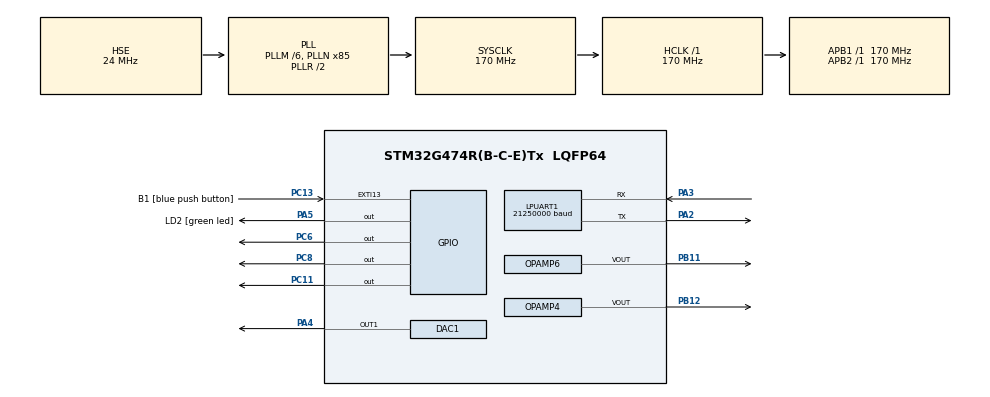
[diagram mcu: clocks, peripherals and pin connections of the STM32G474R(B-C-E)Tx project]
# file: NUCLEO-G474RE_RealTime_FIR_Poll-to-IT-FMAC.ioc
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Mcu.Family=STM32G4
RCC.CortexFreq_Value=170000000
Dma.DAC3_CH1.0.Polarity=HAL_DMAMUX_REQ_GEN_RISING
VP_FMAC_VS_FMAC.Mode=FMAC_Activate
Dma.DAC3_CH1.0.MemInc=DMA_MINC_ENABLE
PA14.GPIO_Label=T_SWCLK
Dma.DAC3_CH1.0.PeriphInc=DMA_PINC_DISABLE
PC13.GPIO_Label=B1 [blue push button]
PB11.Signal=OPAMP6_VOUT
RCC.SYSCLKSource=RCC_SYSCLKSOURCE_PLLCLK
ProjectManager.StackSize=0x400
Dma.DAC3_CH1.0.MemDataAlignment=DMA_MDATAALIGN_WORD
Dma.DAC3_CH1.0.SyncPolarity=HAL_DMAMUX_SYNC_NO_EVENT
Dma.DAC3_CH1.0.SyncEnable=DISABLE
HRTIM1.NumberInterruptRequests_Master-MasterTimer=1
HRTIM1.Periode_MASTER=54400
RCC.HCLKFreq_Value=170000000
RCC.APB2TimFreq_Value=170000000
DAC3.DAC_Trigger_OUT1-DAC_OUT1_Int=DAC_TRIGGER_T6_TRGO
RCC.AHBFreq_Value=170000000
VP_HRTIM1_VS_hrtimMasterTimerNoOutput.Mode=MasterTimer
NVIC.EXTI15_10_IRQn=true\:0\:0\:false\:false\:true\:true\:true
RCC.HSE_VALUE=24000000
PB3.Mode=Trace_Asynchronous_SW
OPAMP6.PowerMode=OPAMP_POWERMODE_HIGHSPEED
RCC.ADC12Freq_Value=170000000
RCC.RTCClockSelection=RCC_RTCCLKSOURCE_LSE
VP_DAC3_VS_DACI1.Mode=DAC_OUT1_Int
PC14-OSC32_IN.Mode=LSE-External-Oscillator
PA14.Mode=Trace_Asynchronous_SW
HRTIM1.PrescalerRatio_MASTER=HRTIM_PRESCALERRATIO_MUL16
VP_SYS_VS_DBSignals.Mode=DisableDeadBatterySignals
OPAMP4.PowerMode=OPAMP_POWERMODE_HIGHSPEED
Mcu.Package=LQFP64
PB12.Mode=Follower-DAC_OUT2-INP
Dma.DAC3_CH1.0.Mode=DMA_CIRCULAR
DAC1.DAC_HighFrequency_OUT1-DAC_OUT1=DAC_HIGH_FREQUENCY_INTERFACE_MODE_ABOVE_160MHZ
TIM6.PeriodNoDither=5-1
HRTIM1.ADCTrigger1_Source1=HRTIM_ADCTRIGGEREVENT13_MASTER_PERIOD
HRTIM1.NumberADCTriggerSource1=1
RCC.APB1TimFreq_Value=170000000
HRTIM1.InterruptRequests1_Master=HRTIM_MASTER_IT_MREP
PF1-OSC_OUT.Mode=HSE-External-Oscillator
Dma.Request0=DAC3_CH1
PF1-OSC_OUT.Signal=RCC_OSC_OUT
RCC.HSI48_VALUE=48000000
PA3.Signal=LPUART1_RX
PB3.GPIO_Label=T_SWO
RCC.PLLSourceVirtual=RCC_PLLSOURCE_HSE
PC15-OSC32_OUT.Mode=LSE-External-Oscillator
PC13.Signal=GPXTI13
PC11.Signal=GPIO_Output
PC8.Signal=GPIO_Output
TIM6.Prescaler=17-1
PC6.Signal=GPIO_Output
VP_TIM6_VS_ClockSourceINT.Mode=Enable_Timer
RCC.EXTERNAL_CLOCK_VALUE=12288000
PC14-OSC32_IN.Signal=RCC_OSC32_IN
Dma.DAC3_CH1.0.Instance=DMA1_Channel1
PA13.Signal=SYS_JTMS-SWDIO
PA3.Mode=Asynchronous
Dma.DAC3_CH1.0.Direction=DMA_MEMORY_TO_PERIPH
DAC4.DAC_HighFrequency_OUT1-DAC_OUT1_Int=DAC_HIGH_FREQUENCY_INTERFACE_MODE_ABOVE_160MHZ
PB11.Mode=Follower-DAC_OUT2-INP
HRTIM1.RepetitionUpdate-MasterTimer=HRTIM_UPDATEONREPETITION_DISABLED
ProjectManager.TargetToolchain=STM32CubeIDE
SH.COMP_DAC11_group.0=DAC1_OUT1,DAC_OUT1
VP_DAC4_VS_DACI1.Mode=DAC_OUT1_Int
RCC.USBFreq_Value=170000000
PC15-OSC32_OUT.Signal=RCC_OSC32_OUT
PF0-OSC_IN.Mode=HSE-External-Oscillator
Dma.DAC3_CH1.0.EventEnable=DISABLE
PA5.Signal=GPIO_Output
HRTIM1.ADCTrigger_Id1=__NULL
Dma.DAC3_CH1.0.SyncRequestNumber=1
board=NUCLEO-G474RE
NVIC.HRTIM1_Master_IRQn=true\:0\:0\:false\:false\:true\:true\:true
RCC.VCOOutputFreq_Value=340000000
RCC.ADC345Freq_Value=170000000
RCC.APB2Freq_Value=170000000
NVIC.FMAC_IRQn=true\:0\:0\:false\:false\:true\:true\:false
TIM6.TIM_MasterOutputTrigger=TIM_TRGO_UPDATE
Dma.DAC3_CH1.0.SignalID=NONE
PA13.Mode=Trace_Asynchronous_SW
Mcu.Name=STM32G474R(B-C-E)Tx
LPUART1.BaudRate=21250000
PA13.GPIO_Label=T_SWDIO
PA2.Signal=LPUART1_TX
Dma.DAC3_CH1.0.PeriphDataAlignment=DMA_PDATAALIGN_WORD
Dma.DAC3_CH1.0.Priority=DMA_PRIORITY_LOW
PB3.Signal=SYS_JTDO-SWO
PA4.Signal=COMP_DAC11_group
RCC.SYSCLKFreq_VALUE=170000000
DAC3.DAC_HighFrequency_OUT1-DAC_OUT1_Int=DAC_HIGH_FREQUENCY_INTERFACE_MODE_ABOVE_160MHZ
PA5.GPIO_Label=LD2 [green led]
Dma.DAC3_CH1.0.RequestNumber=1
PA14.Signal=SYS_JTCK-SWCLK
ProjectManager.HeapSize=0x200
RCC.HSI_VALUE=16000000
NVIC.PriorityGroup=NVIC_PRIORITYGROUP_4
RCC.PLLM=RCC_PLLM_DIV6
RCC.PLLN=85
Dma.DAC3_CH1.0.SyncSignalID=NONE
PA2.Mode=Asynchronous
NVIC.DMA1_Channel1_IRQn=true\:0\:0\:false\:false\:true\:false\:true
PF0-OSC_IN.Signal=RCC_OSC_IN
RCC.APB1Freq_Value=170000000
PB12.Signal=OPAMP4_VOUT

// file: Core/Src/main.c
/* USER CODE BEGIN Header */
/**
  ******************************************************************************
  * @file           : main.c
  * @brief          : Main program body
  ******************************************************************************
  * @attention
  *
  * <h2><center>&copy; Copyright (c) 2021 STMicroelectronics.
  * All rights reserved.</center></h2>
  *
  * This software component is licensed by ST under BSD 3-Clause license,
  * the "License"; You may not use this file except in compliance with the
  * License. You may obtain a copy of the License at:
  *                        opensource.org/licenses/BSD-3-Clause
  *
  ******************************************************************************
  */
/* USER CODE END Header */
#include "main.h"

/* USER CODE BEGIN Includes */

#include "waveforms.h"
#include "fmac.h"
#include <stdio.h>

/* USER CODE END Includes */

/* USER CODE BEGIN PD */

/* FMAC WDATA register address (for DMA transfer) */
#define FMAC_WDATA (0x40021418)

/* USER CODE END PD */

DAC_HandleTypeDef hdac1;
DAC_HandleTypeDef hdac3;
DAC_HandleTypeDef hdac4;
DMA_HandleTypeDef hdma_dac3_ch1;

FMAC_HandleTypeDef hfmac;

HRTIM_HandleTypeDef hhrtim1;

UART_HandleTypeDef hlpuart1;

OPAMP_HandleTypeDef hopamp4;
OPAMP_HandleTypeDef hopamp6;

TIM_HandleTypeDef htim6;

/* USER CODE BEGIN PV */

uint32_t CPU_Freq, HR_Master_mul, HRTIM_Master_per, HRTIM_Master_Freq;
uint32_t TIM6_PSC, TIM6_ARR, TIM6_Freq;

#define sampling_pt_array_size 600
uint32_t sampling_rate, sampling_pt_cntr, sampling_pt_array[sampling_pt_array_size];
uint32_t *Fmac_Wdata;
int16_t sampling_pt, Fmac_output;

FMAC_FilterConfigTypeDef sFmacConfig;

uint16_t ExpectedCalculatedOutputSize = (uint16_t) 1;
uint16_t InputSize = (uint16_t) 1;

/* Array of filter coefficients B (feed-forward taps) in Q1.15 format */

// Old Low Pass Filter
//static int16_t aFilterCoeffB[] =
//{
//    2212,  8848, 13272,  8848,  2212
//};

// Very Low Pass Filter
//static int16_t aFilterCoeffB[] =
//{
//    70,  0, 127,  0,  70
//};

// Low Pass Filter
static int16_t aFilterCoeffB[] =
{
		5987,  6832, 7129,  6832,  5987
};

// High Pass Filter
//static int16_t aFilterCoeffB[] =
//{
//		-2570,  -8318, 21777,  -8318,  -2570
//};

/* USER CODE END PV */

void SystemClock_Config(void);
static void MX_GPIO_Init(void);
static void MX_DMA_Init(void);
static void MX_DAC3_Init(void);
static void MX_TIM6_Init(void);
static void MX_OPAMP6_Init(void);
static void MX_HRTIM1_Init(void);
static void MX_DAC4_Init(void);
static void MX_OPAMP4_Init(void);
static void MX_FMAC_Init(void);
static void MX_DAC1_Init(void);
static void MX_LPUART1_UART_Init(void);
/* USER CODE BEGIN PFP */

void VT_FMAC_init(void);
#define PUTCHAR_PROTOTYPE int __io_putchar(int ch)
void VT_AppendData_FMAC(void);
void VT_HRTIM_Master_FreqCalc(void);

/* USER CODE END PFP */

int main(void)
{

  /* MCU Configuration--------------------------------------------------------*/

  /* Reset of all peripherals, Initializes the Flash interface and the Systick. */
  HAL_Init();

  /* Configure the system clock */
  SystemClock_Config();

  /* Initialize all configured peripherals */
  MX_GPIO_Init();
  MX_DMA_Init();
  MX_DAC3_Init();
  MX_TIM6_Init();
  MX_OPAMP6_Init();
  MX_HRTIM1_Init();
  MX_DAC4_Init();
  MX_OPAMP4_Init();
  MX_FMAC_Init();
  MX_DAC1_Init();
  MX_LPUART1_UART_Init();
  /* USER CODE BEGIN 2 */

  CPU_Freq = HAL_RCC_GetHCLKFreq();

  VT_HRTIM_Master_FreqCalc();

  TIM6_Freq = CPU_Freq / (TIM6_PSC * TIM6_ARR);

  if ((TIM6_Freq % HRTIM_Master_Freq) != 0)
  {
	  Error_Handler();
  }

  sampling_rate = TIM6_Freq / HRTIM_Master_Freq;

//	HR_TimA_mul = pow(2,(0x00000007 & HRTIM1->sTimerxRegs[HRTIM_TIMERINDEX_TIMER_A].TIMxCR)); // TimA multiplier
//	HRTIM_TimA_per = HRTIM1->sTimerxRegs[HRTIM_TIMERINDEX_TIMER_A].PERxR;
//	HRTIM_TimA_Freq = (((uint64_t) CPU_Freq * 32 ) / HR_TimA_mul) / HRTIM_TimA_per;

	for (uint16_t cntr = 0; cntr < MySine2000_SIZE; cntr++)
	{
		MySine2000[cntr] += 682;
		MySine2000[cntr] += MySine200[cntr % MySine200_SIZE];
	}

	/*##- Enable DAC Channel and associated DMA ##############################*/
	if(HAL_OK != HAL_DAC_Start_DMA(&hdac3, DAC_CHANNEL_1,
				   (uint32_t*)MySine2000, MySine2000_SIZE, DAC_ALIGN_12B_R))
	{
		/* Start DMA Error */
		Error_Handler();
	}

	/*##- Start OPAMP    #####################################################*/
	/* Enable OPAMP */
	if(HAL_OK != HAL_OPAMP_Start(&hopamp6))
	{
		Error_Handler();
	}

	/*##- Enable DAC Channel ##############################*/
	if(HAL_OK != HAL_DAC_Start(&hdac4, DAC_CHANNEL_1))
	{
		/* Start Error */
		Error_Handler();
	}

	/*##- Start OPAMP    #####################################################*/
	/* Enable OPAMP */
	if(HAL_OK != HAL_OPAMP_Start(&hopamp4))
	{
		Error_Handler();
	}

	VT_FMAC_init();

	/*##- Enable DAC Channel ##############################*/
	if(HAL_OK != HAL_DAC_Start(&hdac1, DAC_CHANNEL_1))
	{
		/* Start Error */
		Error_Handler();
	}

	/*##- Enable TIM peripheral counter ######################################*/
	if(HAL_OK != HAL_TIM_Base_Start(&htim6))
	{
		Error_Handler();
	}

	if(HAL_OK != HAL_HRTIM_WaveformCounterStart_IT(&hhrtim1, HRTIM_TIMERID_MASTER))
	{
		Error_Handler();
	}

  /* USER CODE END 2 */

  /* Infinite loop */
  /* USER CODE BEGIN WHILE */
  while (1)
  {
//	  HAL_GPIO_TogglePin(GPIOA, GPIO_PIN_5);
//	  HAL_Delay(100);
    /* USER CODE END WHILE */

  }
}

void SystemClock_Config(void)
{
  RCC_OscInitTypeDef RCC_OscInitStruct = {0};
  RCC_ClkInitTypeDef RCC_ClkInitStruct = {0};
  RCC_PeriphCLKInitTypeDef PeriphClkInit = {0};

  /** Configure the main internal regulator output voltage
  */
  HAL_PWREx_ControlVoltageScaling(PWR_REGULATOR_VOLTAGE_SCALE1_BOOST);
  /** Initializes the RCC Oscillators according to the specified parameters
  * in the RCC_OscInitTypeDef structure.
  */
  RCC_OscInitStruct.OscillatorType = RCC_OSCILLATORTYPE_HSE;
  RCC_OscInitStruct.HSEState = RCC_HSE_ON;
  RCC_OscInitStruct.PLL.PLLState = RCC_PLL_ON;
  RCC_OscInitStruct.PLL.PLLSource = RCC_PLLSOURCE_HSE;
  RCC_OscInitStruct.PLL.PLLM = RCC_PLLM_DIV6;
  RCC_OscInitStruct.PLL.PLLN = 85;
  RCC_OscInitStruct.PLL.PLLP = RCC_PLLP_DIV2;
  RCC_OscInitStruct.PLL.PLLQ = RCC_PLLQ_DIV2;
  RCC_OscInitStruct.PLL.PLLR = RCC_PLLR_DIV2;
  if (HAL_RCC_OscConfig(&RCC_OscInitStruct) != HAL_OK)
  {
    Error_Handler();
  }
  /** Initializes the CPU, AHB and APB buses clocks
  */
  RCC_ClkInitStruct.ClockType = RCC_CLOCKTYPE_HCLK|RCC_CLOCKTYPE_SYSCLK
                              |RCC_CLOCKTYPE_PCLK1|RCC_CLOCKTYPE_PCLK2;
  RCC_ClkInitStruct.SYSCLKSource = RCC_SYSCLKSOURCE_PLLCLK;
  RCC_ClkInitStruct.AHBCLKDivider = RCC_SYSCLK_DIV1;
  RCC_ClkInitStruct.APB1CLKDivider = RCC_HCLK_DIV1;
  RCC_ClkInitStruct.APB2CLKDivider = RCC_HCLK_DIV1;

  if (HAL_RCC_ClockConfig(&RCC_ClkInitStruct, FLASH_LATENCY_4) != HAL_OK)
  {
    Error_Handler();
  }
  /** Initializes the peripherals clocks
  */
  PeriphClkInit.PeriphClockSelection = RCC_PERIPHCLK_LPUART1;
  PeriphClkInit.Lpuart1ClockSelection = RCC_LPUART1CLKSOURCE_PCLK1;
  if (HAL_RCCEx_PeriphCLKConfig(&PeriphClkInit) != HAL_OK)
  {
    Error_Handler();
  }
}

static void MX_DAC1_Init(void)
{

  DAC_ChannelConfTypeDef sConfig = {0};

  /** DAC Initialization
  */
  hdac1.Instance = DAC1;
  if (HAL_DAC_Init(&hdac1) != HAL_OK)
  {
    Error_Handler();
  }
  /** DAC channel OUT1 config
  */
  sConfig.DAC_HighFrequency = DAC_HIGH_FREQUENCY_INTERFACE_MODE_ABOVE_160MHZ;
  sConfig.DAC_DMADoubleDataMode = DISABLE;
  sConfig.DAC_SignedFormat = DISABLE;
  sConfig.DAC_SampleAndHold = DAC_SAMPLEANDHOLD_DISABLE;
  sConfig.DAC_Trigger = DAC_TRIGGER_NONE;
  sConfig.DAC_Trigger2 = DAC_TRIGGER_NONE;
  sConfig.DAC_OutputBuffer = DAC_OUTPUTBUFFER_ENABLE;
  sConfig.DAC_ConnectOnChipPeripheral = DAC_CHIPCONNECT_EXTERNAL;
  sConfig.DAC_UserTrimming = DAC_TRIMMING_FACTORY;
  if (HAL_DAC_ConfigChannel(&hdac1, &sConfig, DAC_CHANNEL_1) != HAL_OK)
  {
    Error_Handler();
  }

}

static void MX_DAC3_Init(void)
{

  DAC_ChannelConfTypeDef sConfig = {0};

  /** DAC Initialization
  */
  hdac3.Instance = DAC3;
  if (HAL_DAC_Init(&hdac3) != HAL_OK)
  {
    Error_Handler();
  }
  /** DAC channel OUT1 config
  */
  sConfig.DAC_HighFrequency = DAC_HIGH_FREQUENCY_INTERFACE_MODE_ABOVE_160MHZ;
  sConfig.DAC_DMADoubleDataMode = DISABLE;
  sConfig.DAC_SignedFormat = DISABLE;
  sConfig.DAC_SampleAndHold = DAC_SAMPLEANDHOLD_DISABLE;
  sConfig.DAC_Trigger = DAC_TRIGGER_T6_TRGO;
  sConfig.DAC_Trigger2 = DAC_TRIGGER_NONE;
  sConfig.DAC_OutputBuffer = DAC_OUTPUTBUFFER_DISABLE;
  sConfig.DAC_ConnectOnChipPeripheral = DAC_CHIPCONNECT_INTERNAL;
  sConfig.DAC_UserTrimming = DAC_TRIMMING_FACTORY;
  if (HAL_DAC_ConfigChannel(&hdac3, &sConfig, DAC_CHANNEL_1) != HAL_OK)
  {
    Error_Handler();
  }

}

static void MX_DAC4_Init(void)
{

  DAC_ChannelConfTypeDef sConfig = {0};

  /** DAC Initialization
  */
  hdac4.Instance = DAC4;
  if (HAL_DAC_Init(&hdac4) != HAL_OK)
  {
    Error_Handler();
  }
  /** DAC channel OUT1 config
  */
  sConfig.DAC_HighFrequency = DAC_HIGH_FREQUENCY_INTERFACE_MODE_ABOVE_160MHZ;
  sConfig.DAC_DMADoubleDataMode = DISABLE;
  sConfig.DAC_SignedFormat = DISABLE;
  sConfig.DAC_SampleAndHold = DAC_SAMPLEANDHOLD_DISABLE;
  sConfig.DAC_Trigger = DAC_TRIGGER_NONE;
  sConfig.DAC_Trigger2 = DAC_TRIGGER_NONE;
  sConfig.DAC_OutputBuffer = DAC_OUTPUTBUFFER_DISABLE;
  sConfig.DAC_ConnectOnChipPeripheral = DAC_CHIPCONNECT_INTERNAL;
  sConfig.DAC_UserTrimming = DAC_TRIMMING_FACTORY;
  if (HAL_DAC_ConfigChannel(&hdac4, &sConfig, DAC_CHANNEL_1) != HAL_OK)
  {
    Error_Handler();
  }

}

static void MX_FMAC_Init(void)
{

  hfmac.Instance = FMAC;
  if (HAL_FMAC_Init(&hfmac) != HAL_OK)
  {
    Error_Handler();
  }

}

static void MX_HRTIM1_Init(void)
{

  HRTIM_TimeBaseCfgTypeDef pTimeBaseCfg = {0};
  HRTIM_TimerCfgTypeDef pTimerCfg = {0};

  hhrtim1.Instance = HRTIM1;
  hhrtim1.Init.HRTIMInterruptResquests = HRTIM_IT_NONE;
  hhrtim1.Init.SyncOptions = HRTIM_SYNCOPTION_NONE;
  if (HAL_HRTIM_Init(&hhrtim1) != HAL_OK)
  {
    Error_Handler();
  }
  if (HAL_HRTIM_DLLCalibrationStart(&hhrtim1, HRTIM_CALIBRATIONRATE_3) != HAL_OK)
  {
    Error_Handler();
  }
  if (HAL_HRTIM_PollForDLLCalibration(&hhrtim1, 10) != HAL_OK)
  {
    Error_Handler();
  }
  pTimeBaseCfg.Period = 54400;
  pTimeBaseCfg.RepetitionCounter = 0x00;
  pTimeBaseCfg.PrescalerRatio = HRTIM_PRESCALERRATIO_MUL16;
  pTimeBaseCfg.Mode = HRTIM_MODE_CONTINUOUS;
  if (HAL_HRTIM_TimeBaseConfig(&hhrtim1, HRTIM_TIMERINDEX_MASTER, &pTimeBaseCfg) != HAL_OK)
  {
    Error_Handler();
  }
  pTimerCfg.InterruptRequests = HRTIM_MASTER_IT_MREP;
  pTimerCfg.DMARequests = HRTIM_MASTER_DMA_NONE;
  pTimerCfg.DMASrcAddress = 0x0000;
  pTimerCfg.DMADstAddress = 0x0000;
  pTimerCfg.DMASize = 0x1;
  pTimerCfg.HalfModeEnable = HRTIM_HALFMODE_DISABLED;
  pTimerCfg.InterleavedMode = HRTIM_INTERLEAVED_MODE_DISABLED;
  pTimerCfg.StartOnSync = HRTIM_SYNCSTART_DISABLED;
  pTimerCfg.ResetOnSync = HRTIM_SYNCRESET_DISABLED;
  pTimerCfg.DACSynchro = HRTIM_DACSYNC_NONE;
  pTimerCfg.PreloadEnable = HRTIM_PRELOAD_DISABLED;
  pTimerCfg.UpdateGating = HRTIM_UPDATEGATING_INDEPENDENT;
  pTimerCfg.BurstMode = HRTIM_TIMERBURSTMODE_MAINTAINCLOCK;
  pTimerCfg.RepetitionUpdate = HRTIM_UPDATEONREPETITION_DISABLED;
  pTimerCfg.ReSyncUpdate = HRTIM_TIMERESYNC_UPDATE_UNCONDITIONAL;

  if (HAL_HRTIM_WaveformTimerConfig(&hhrtim1, HRTIM_TIMERINDEX_MASTER, &pTimerCfg) != HAL_OK)
  {
    Error_Handler();
  }

}

static void MX_LPUART1_UART_Init(void)
{

  hlpuart1.Instance = LPUART1;
  hlpuart1.Init.BaudRate = 21250000;
  hlpuart1.Init.WordLength = UART_WORDLENGTH_8B;
  hlpuart1.Init.StopBits = UART_STOPBITS_1;
  hlpuart1.Init.Parity = UART_PARITY_NONE;
  hlpuart1.Init.Mode = UART_MODE_TX_RX;
  hlpuart1.Init.HwFlowCtl = UART_HWCONTROL_NONE;
  hlpuart1.Init.OneBitSampling = UART_ONE_BIT_SAMPLE_DISABLE;
  hlpuart1.Init.ClockPrescaler = UART_PRESCALER_DIV1;
  hlpuart1.AdvancedInit.AdvFeatureInit = UART_ADVFEATURE_NO_INIT;
  if (HAL_UART_Init(&hlpuart1) != HAL_OK)
  {
    Error_Handler();
  }
  if (HAL_UARTEx_SetTxFifoThreshold(&hlpuart1, UART_TXFIFO_THRESHOLD_1_8) != HAL_OK)
  {
    Error_Handler();
  }
  if (HAL_UARTEx_SetRxFifoThreshold(&hlpuart1, UART_RXFIFO_THRESHOLD_1_8) != HAL_OK)
  {
    Error_Handler();
  }
  if (HAL_UARTEx_DisableFifoMode(&hlpuart1) != HAL_OK)
  {
    Error_Handler();
  }

}

static void MX_OPAMP4_Init(void)
{

  hopamp4.Instance = OPAMP4;
  hopamp4.Init.PowerMode = OPAMP_POWERMODE_HIGHSPEED;
  hopamp4.Init.Mode = OPAMP_FOLLOWER_MODE;
  hopamp4.Init.NonInvertingInput = OPAMP_NONINVERTINGINPUT_DAC;
  hopamp4.Init.InternalOutput = DISABLE;
  hopamp4.Init.TimerControlledMuxmode = OPAMP_TIMERCONTROLLEDMUXMODE_DISABLE;
  hopamp4.Init.UserTrimming = OPAMP_TRIMMING_FACTORY;
  if (HAL_OPAMP_Init(&hopamp4) != HAL_OK)
  {
    Error_Handler();
  }

}

static void MX_OPAMP6_Init(void)
{

  hopamp6.Instance = OPAMP6;
  hopamp6.Init.PowerMode = OPAMP_POWERMODE_HIGHSPEED;
  hopamp6.Init.Mode = OPAMP_FOLLOWER_MODE;
  hopamp6.Init.NonInvertingInput = OPAMP_NONINVERTINGINPUT_DAC;
  hopamp6.Init.InternalOutput = DISABLE;
  hopamp6.Init.TimerControlledMuxmode = OPAMP_TIMERCONTROLLEDMUXMODE_DISABLE;
  hopamp6.Init.UserTrimming = OPAMP_TRIMMING_FACTORY;
  if (HAL_OPAMP_Init(&hopamp6) != HAL_OK)
  {
    Error_Handler();
  }

}

static void MX_TIM6_Init(void)
{

  TIM_MasterConfigTypeDef sMasterConfig = {0};

  htim6.Instance = TIM6;
  htim6.Init.Prescaler = 17-1;
  htim6.Init.CounterMode = TIM_COUNTERMODE_UP;
  htim6.Init.Period = 4;
  htim6.Init.AutoReloadPreload = TIM_AUTORELOAD_PRELOAD_DISABLE;
  if (HAL_TIM_Base_Init(&htim6) != HAL_OK)
  {
    Error_Handler();
  }
  sMasterConfig.MasterOutputTrigger = TIM_TRGO_UPDATE;
  sMasterConfig.MasterSlaveMode = TIM_MASTERSLAVEMODE_DISABLE;
  if (HAL_TIMEx_MasterConfigSynchronization(&htim6, &sMasterConfig) != HAL_OK)
  {
    Error_Handler();
  }
  /* USER CODE BEGIN TIM6_Init 2 */

  TIM6_PSC = htim6.Init.Prescaler + 1;

  TIM6_ARR = htim6.Init.Period + 1;

  /* USER CODE END TIM6_Init 2 */

}

static void MX_DMA_Init(void)
{

  /* DMA controller clock enable */
  __HAL_RCC_DMAMUX1_CLK_ENABLE();
  __HAL_RCC_DMA1_CLK_ENABLE();

  /* DMA interrupt init */
  /* DMA1_Channel1_IRQn interrupt configuration */
  HAL_NVIC_SetPriority(DMA1_Channel1_IRQn, 0, 0);
  HAL_NVIC_EnableIRQ(DMA1_Channel1_IRQn);

}

static void MX_GPIO_Init(void)
{
  GPIO_InitTypeDef GPIO_InitStruct = {0};

  /* GPIO Ports Clock Enable */
  __HAL_RCC_GPIOC_CLK_ENABLE();
  __HAL_RCC_GPIOF_CLK_ENABLE();
  __HAL_RCC_GPIOA_CLK_ENABLE();
  __HAL_RCC_GPIOB_CLK_ENABLE();

  /*Configure GPIO pin Output Level */
  HAL_GPIO_WritePin(LD2_GPIO_Port, LD2_Pin, GPIO_PIN_RESET);

  /*Configure GPIO pin Output Level */
  HAL_GPIO_WritePin(GPIOC, GPIO_PIN_6|GPIO_PIN_8|GPIO_PIN_11, GPIO_PIN_RESET);

  /*Configure GPIO pin : B1_Pin */
  GPIO_InitStruct.Pin = B1_Pin;
  GPIO_InitStruct.Mode = GPIO_MODE_IT_RISING;
  GPIO_InitStruct.Pull = GPIO_NOPULL;
  HAL_GPIO_Init(B1_GPIO_Port, &GPIO_InitStruct);

  /*Configure GPIO pin : LD2_Pin */
  GPIO_InitStruct.Pin = LD2_Pin;
  GPIO_InitStruct.Mode = GPIO_MODE_OUTPUT_PP;
  GPIO_InitStruct.Pull = GPIO_NOPULL;
  GPIO_InitStruct.Speed = GPIO_SPEED_FREQ_LOW;
  HAL_GPIO_Init(LD2_GPIO_Port, &GPIO_InitStruct);

  /*Configure GPIO pins : PC6 PC8 PC11 */
  GPIO_InitStruct.Pin = GPIO_PIN_6|GPIO_PIN_8|GPIO_PIN_11;
  GPIO_InitStruct.Mode = GPIO_MODE_OUTPUT_PP;
  GPIO_InitStruct.Pull = GPIO_NOPULL;
  GPIO_InitStruct.Speed = GPIO_SPEED_FREQ_LOW;
  HAL_GPIO_Init(GPIOC, &GPIO_InitStruct);

  /* EXTI interrupt init*/
  HAL_NVIC_SetPriority(EXTI15_10_IRQn, 0, 0);
  HAL_NVIC_EnableIRQ(EXTI15_10_IRQn);

}

/* USER CODE BEGIN 4 */

//HAL_ADC_ConvCpltCallback(ADC_HandleTypeDef *hadc)
//{
//  /* Prevent unused argument(s) compilation warning */
//  UNUSED(hadc);
//
//  /* NOTE : This function should not be modified. When the callback is needed,
//			function HAL_ADC_ConvCpltCallback must be implemented in the user file.
//   */
//
////	HAL_GPIO_TogglePin(GPIOC, GPIO_PIN_11);
//	adc_data = HAL_ADC_GetValue(hadc);
//	HAL_DAC_SetValue(&hdac4, DAC_CHANNEL_1, DAC_ALIGN_12B_R, adc_data);
////	if (adc_data_cntr < adc_data_array_size)
////	{
////		adc_data_array[adc_data_cntr++] = adc_data;
////		if (adc_data_cntr == adc_data_array_size)
////		{
////			if(HAL_OK != HAL_HRTIM_WaveformCounterStop(&hhrtim1, HRTIM_TIMERID_MASTER))
////			{
////				Error_Handler();
////			}
////
////			printf("ADC DATA \n");
////			for (uint16_t Index = 0; Index < adc_data_array_size; Index++)
////			{
////				printf("%d %d\n",Index, adc_data_array[Index]);
////			}
////		}
////	}
//}

void VT_AppendData_FMAC(void)
{
	HAL_GPIO_TogglePin(GPIOC, GPIO_PIN_8);

//	sampling_pt = MySine2000[(sampling_pt_cntr += sampling_rate) % MySine2000_SIZE]; // sampling_pt_cntr will over flow

	sampling_pt = MySine2000[sampling_pt_cntr = (sampling_pt_cntr + sampling_rate) % MySine2000_SIZE];

	HAL_DAC_SetValue(&hdac4, DAC_CHANNEL_1, DAC_ALIGN_12B_R, sampling_pt);

	/*## Append new data #################################*/
	// HAL_FMAC_AppendFilterData(FMAC_HandleTypeDef *hfmac, int16_t *pInput, uint16_t *pInputSize)
	if (HAL_FMAC_AppendFilterData(&hfmac,
								&sampling_pt,
								&InputSize) != HAL_OK)
	{
		Error_Handler();
	}

	/*## Poll to write the 2nd part of the input data ##########################*/
	if (HAL_FMAC_PollFilterData(&hfmac, 100) != HAL_OK)
	{
		Error_Handler();
	}
}

void VT_HRTIM_Master_FreqCalc(void)
{
	HR_Master_mul = pow(2,(0x00000007 & HRTIM1->sMasterRegs.MCR)); // Master Tim multiplier, it is reversed HR_Master_mul = 2^PSC
	HRTIM_Master_per = HRTIM1->sMasterRegs.MPER;
	HRTIM_Master_Freq = (((uint64_t) CPU_Freq * 32 ) / HR_Master_mul) / HRTIM_Master_per;
}

void HAL_FMAC_OutputDataReadyCallback(FMAC_HandleTypeDef *hfmac)
{
//	HAL_GPIO_TogglePin(GPIOC, GPIO_PIN_8);
}

void VT_FMAC_init(void)
{
	  /*## Configure the FMAC peripheral ###########################################*/
	  sFmacConfig.InputBaseAddress  = INPUT_BUFFER_BASE; 	// COEFF_VECTOR_B_SIZE = COEFFICIENT_BUFFER_SIZE = 5
	  sFmacConfig.InputBufferSize   = INPUT_BUFFER_SIZE; 	// COEFF_VECTOR_B_SIZE (5) + MEMORY_PARAMETER_D1 (1)
	  sFmacConfig.InputThreshold    = INPUT_THRESHOLD;  	// FMAC_THRESHOLD_1 = 0x00000000U
	  sFmacConfig.CoeffBaseAddress  = COEFFICIENT_BUFFER_BASE; // = 0
	  sFmacConfig.CoeffBufferSize   = COEFFICIENT_BUFFER_SIZE; // = 5
	  sFmacConfig.OutputBaseAddress = OUTPUT_BUFFER_BASE;	// COEFFICIENT_BUFFER_SIZE + INPUT_BUFFER_SIZE
	  sFmacConfig.OutputBufferSize  = OUTPUT_BUFFER_SIZE;	// MEMORY_PARAMETER_D2 = 2
	  sFmacConfig.OutputThreshold   = OUTPUT_THRESHOLD; 	//
	  sFmacConfig.pCoeffA           = NULL;					// no A coeffs
	  sFmacConfig.CoeffASize        = 0;					// no A coeffs
	  sFmacConfig.pCoeffB           = aFilterCoeffB;		//
	  sFmacConfig.CoeffBSize        = COEFF_VECTOR_B_SIZE;	// 5
	  sFmacConfig.Filter            = FMAC_FUNC_CONVO_FIR;  //
	  sFmacConfig.InputAccess       = FMAC_BUFFER_ACCESS_POLLING; /*!< Buffer accessed through polling */
	  sFmacConfig.OutputAccess      = FMAC_BUFFER_ACCESS_IT;// /*!< Buffer accessed through interruptions */
	  sFmacConfig.Clip              = FMAC_CLIP_ENABLED;	//
	  sFmacConfig.P                 = COEFF_VECTOR_B_SIZE;	// 5
	  sFmacConfig.Q                 = FILTER_PARAM_Q_NOT_USED; // 0
	  sFmacConfig.R                 = GAIN;					//

	  if (HAL_FMAC_FilterConfig(&hfmac, &sFmacConfig) != HAL_OK)
	  {
	    /* Configuration Error */
	    Error_Handler();
	  }

	  /*## Preload the input and output buffers ##################################*/
	  /*
	  HAL_FMAC_FilterPreload(FMAC_HandleTypeDef *hfmac,
												int16_t *pInput,
												uint8_t InputSize,
												int16_t *pOutput,
												uint8_t OutputSize)
	  */
	  // Null means, will not start Calculations until HRTIM IT when append data
	  if (HAL_FMAC_FilterPreload(&hfmac, NULL, INPUT_BUFFER_SIZE, NULL, 0) != HAL_OK)
	  {
	    /* Configuration Error */
	    Error_Handler();
	  }

	  /*## Start calculation of FIR filter in polling/IT mode ####################*/
	  if (HAL_FMAC_FilterStart(&hfmac,&Fmac_output,&ExpectedCalculatedOutputSize) != HAL_OK)
	  {
	    /* Processing Error */
	    Error_Handler();
	  }

}

PUTCHAR_PROTOTYPE
{
  /* Place your implementation of fputc here */
  /* e.g. write a character to the LPUART1 and Loop until the end of transmission */
  HAL_UART_Transmit(&hlpuart1, (uint8_t *)&ch, 1, 0xFFFF); // hlpuart1 >> huart1

  return ch;
}

/* USER CODE END 4 */

void Error_Handler(void)
{
  /* USER CODE BEGIN Error_Handler_Debug */
  /* User can add his own implementation to report the HAL error return state */
  __disable_irq();
  while (1)
  {
	  HAL_GPIO_TogglePin(GPIOA, GPIO_PIN_5);
  }
  /* USER CODE END Error_Handler_Debug */
}

/************************ (C) COPYRIGHT STMicroelectronics *****END OF FILE****/
